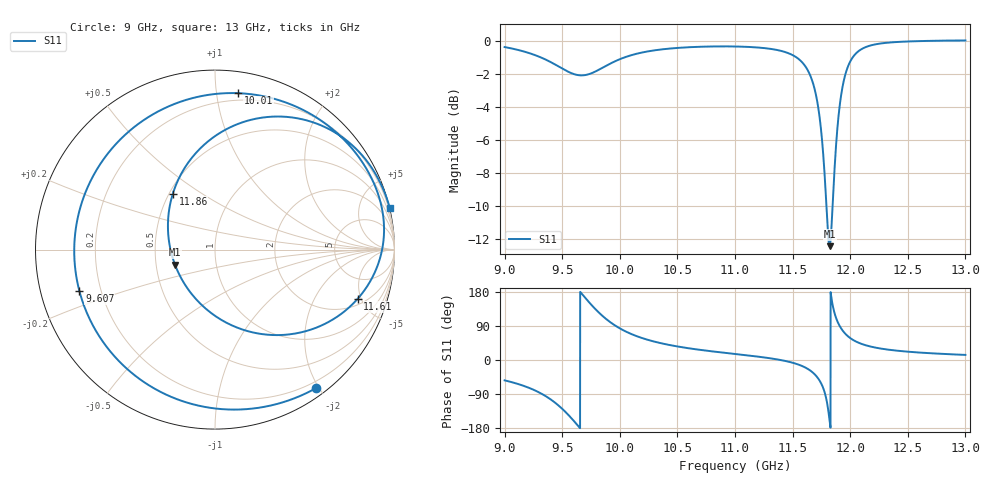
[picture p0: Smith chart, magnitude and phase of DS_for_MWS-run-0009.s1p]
! TOUCHSTONE file generated by CST DESIGN STUDIO
! Date and time: Tue Feb  4 14:10:47 2025
! Project name: C:\Work\MatlabApps\UnitCellOptimizationMatlab\CST\unitcell.cst
! Tree item: Tasks\Sweep1\SPara1\S-Parameters
! Header version: 2024
! Port assignment regex: !\s*Touchstone port\s*([0-9]+)\s*=\s*(CST MWS port|CST DES external port|CST DES block port)\s*(.+)\s* \(\"(.*)\"\)(\s*mode\s*([0-9]+))?.*
! Touchstone port assignment:
! Touchstone port 1 = CST DES external port 1 ("")
# GHz S MA R 50
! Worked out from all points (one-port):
!   4001 points, 9 GHz to 13 GHz, reference 50 ohm
!   lowest |S11| = -12.5 dB at 11.82 GHz (marker M1), VSWR 1.63, Z = 31.4 - j5.59 ohm
!   |S11| at or under -10 dB: 11.79346 GHz to 11.84739 GHz (53.93 MHz wide, 0.456 % of centre)
!   S11 on the Smith chart (normalised r, x): 9 GHz: 0.11, -1.97; 9.607 GHz: 0.12, -0.15; 10.01 GHz: 0.15, +1.15; 11.61 GHz: 2.50, -4.67; 11.86 GHz: 0.52, +0.38; 13 GHz: -0.01, +8.48
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9  0.9554 -53.7
9.169  0.9259 -68.6
9.321  0.8868 -89.1
9.417  0.854 -107.8
9.5  0.8225 -128.8
9.607  0.79 -162.9
9.702  0.786 163.3
9.812  0.8135 127.0
9.899  0.8447 103.9
10  0.8777 83.5
10.012  0.8811 81.5
10.223  0.9241 55.0
10.5  0.9495 35.8
11  0.9591 15.9
11.5  0.9033 -7.2
11.605  0.8406 -19.0
11.681  0.7347 -34.6
11.745  0.5447 -60.1
11.783  0.3671 -90.4
11.821  0.2382 -159.3
11.861  0.39 127.1
11.891  0.5531 100.6
11.921  0.6819 83.5
12  0.8636 57.9
12.074  0.9294 45.4
12.17  0.9645 36.0
12.5  0.9933 21.9
13  1 13.5
